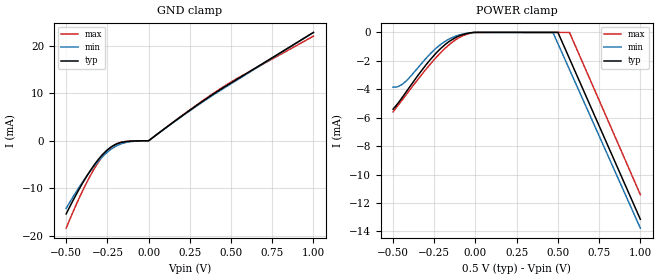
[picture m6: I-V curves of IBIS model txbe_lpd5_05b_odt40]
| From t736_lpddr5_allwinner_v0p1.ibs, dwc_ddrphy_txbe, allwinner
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[Model] txbe_lpd5_05b_odt40
Model_type   Input
Polarity   Non-Inverting
Enable   Active-High
C_comp   925.152fF   924.015fF   932.694fF
C_comp_pullup   278.901fF   271.843fF   281.367fF
C_comp_pulldown   487.705fF   487.541fF   496.933fF
Vinh = 310.000mV
Vinl = 190.000mV
[Model Spec]
D_overshoot_ampl_h 0.1 NA   NA
D_overshoot_ampl_l 0.1 NA   NA
D_overshoot_area_l 300.000m NA   NA
D_overshoot_area_h 300.000m NA   NA
[Receiver Thresholds]
Vth = 125.000mV
Vth_min = 118.000mV
Vth_max = 143.000mV
Vinh_ac = 60.000mV
Vinh_dc = 60.000mV
Vinl_ac = -60.000mV
Vinl_dc = -60.000mV
Tslew_ac = 5.000ns
Threshold_sensitivity = 0.5
Reference_supply Power_clamp_ref
[Temperature Range]   25.000   125.000   -40.000
[Voltage Range]   500.000mV   470.000mV   570.000mV
[GND Clamp Reference]   0.00V   0.00V   0.00V
[C Comp Corner]
| variable   typ   min   max
C_comp   925.152fF   924.015fF   932.694fF
C_comp_pullup   278.901fF   271.843fF   281.367fF
C_comp_pulldown   487.705fF   487.541fF   496.933fF
[POWER Clamp Reference]   500.000mV   470.000mV   570.000mV
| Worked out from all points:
|   GND clamp passes 1 mA (typ) near -0.21 V on its own axis
|   POWER clamp passes 1 mA (typ) near -0.20 V on its own axis
[GND Clamp]
-500mV    -15.36mA   -14.18mA   -18.35mA
-420mV    -10.08mA   -9.679mA   -11.95mA
-340mV    -5.562mA   -5.755mA   -6.481mA
-280mV    -2.909mA   -3.353mA   -3.292mA
-250mV    -1.903mA   -2.381mA   -2.086mA
-220mV    -1.134mA   -1.591mA   -1.177mA
-170mV    -386.4uA   -690.3uA   -338.3uA
-130mV    -144.8uA   -303.5uA   -109.3uA
0V        0A         0A         0A
260mV     6.65mA     6.532mA    6.734mA
470mV     11.51mA    11.31mA    11.7mA
1V        22.74mA    22.76mA    21.97mA
[Power Clamp]
-500mV    -5.4mA     -3.845mA   -5.59mA
-470mV    -4.984mA   -3.812mA   -5.134mA
-420mV    -4.174mA   -3.412mA   -4.374mA
-300mV    -2.28mA    -1.83mA    -2.59mA
-240mV    -1.468mA   -1.124mA   -1.778mA
-180mV    -816uA     -598uA     -1.076mA
-110mV    -302uA     -226uA     -442uA
-10mV     -2uA       -6uA       -12uA
470mV     -1.142uA   -10.65uA   -235.5nA
500mV     -1.221uA   -789.2uA   -252.3nA
570mV     -1.841mA   -2.606mA   -291.7nA
1V        -13.14mA   -13.77mA   -11.41mA
